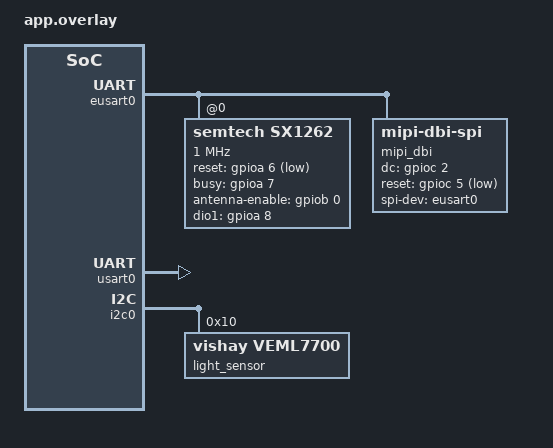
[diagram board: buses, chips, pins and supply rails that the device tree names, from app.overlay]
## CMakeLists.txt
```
# SPDX-License-Identifier: Apache-2.0

cmake_minimum_required(VERSION 3.20.0)

find_package(Zephyr REQUIRED HINTS $ENV{ZEPHYR_BASE})
project(lorawan)

target_include_directories(app PRIVATE ${CMAKE_CURRENT_SOURCE_DIR}/src/utils)

FILE(GLOB app_sources                       
    src/*.c    
    src/display/*.c
    src/sensors/co2_sensor.c
    src/sensors/light_sensor.c
    src/utils/*.c
    src/wireless/BLE/co2_service/*.c            
    src/wireless/BLE/ble_app.c                             
    src/wireless/LoRa/*.c
    src/wireless/*.c)


target_sources(app PRIVATE ${app_sources})
```

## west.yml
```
# The west manifest file for upstream Zephyr.
#
# The per-installation west configuration file, .west/config, sets the
# path to the project containing this file in the [manifest] section's
# "path" variable.
#
# You are free to create your own manifest files and put them in any
# repository you want, to create your own custom Zephyr installations.
# For example, you could create a manifest file in your own out of
# tree application directory, which would pull this zephyr repository
# in as an ordinary project.
#
# You can pass your manifest repositories to west init when creating a
# new Zephyr installation. See the west documentation for more
# information.

manifest:
  defaults:
    remote: upstream
  
  remotes:
    - name: upstream
      url-base: https://github.com/zephyrproject-rtos
    - name: MT_Platform
      url-base: https://github.com/MultiTech-TO/MT_Platform

  #
  # Please add items below based on alphabetical order
  # zephyr-keep-sorted-start re(^\s+\- name:)
  projects:
    - name: zephyr
      revision: v4.4.0
      import:
        name-allowlist: 
         - cmsis
         - cmsis_6
         - hal_silabs
         - loramac-node
         - lvgl
         - mbedtls
         - mcuboot
         - nanopb
         - tinycrypt
         - tf-psa-crypto
        path-allowlist:
         - modules/crypto/*

  self:
    path: applications/MT_Platform
  # zephyr-keep-sorted-stop
```

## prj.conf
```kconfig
CONFIG_ARM_MPU=y
CONFIG_FLASH=y
CONFIG_FLASH_MAP=y
CONFIG_NVS=y
CONFIG_SETTINGS=y
CONFIG_SHELL=y
CONFIG_HW_STACK_PROTECTION=y
CONFIG_LOG=y
# CONFIG_LOG_DEFAULT_LEVEL=2
CONFIG_LORA=y
CONFIG_LORAWAN=y
CONFIG_LORAWAN_LOG_LEVEL_DBG=y
CONFIG_LORA_SHELL=y
CONFIG_SPI_NOR=n
CONFIG_CONSOLE=y
# CONFIG_LORAWAN_REGION_EU868=y
CONFIG_LORAWAN_REGION_US915=y
CONFIG_LORAWAN_SERVICES=y
CONFIG_LORAWAN_APP_CLOCK_SYNC=y

CONFIG_MAIN_STACK_SIZE=4096
CONFIG_SYSTEM_WORKQUEUE_STACK_SIZE=2048

CONFIG_MBEDTLS_PSA_KEY_SLOT_COUNT=3
CONFIG_MBEDTLS_ENABLE_HEAP=y

CONFIG_SMF=y

CONFIG_BT=y
CONFIG_BT_PERIPHERAL=y
CONFIG_SILABS_SISDK_HFXO_MANAGER=y

# CONFIG_THREAD_ANALYZER=y
# CONFIG_THREAD_ANALYZER_AUTO=y

CONFIG_LED=y
CONFIG_DISPLAY=y
CONFIG_MIPI_DBI=y
CONFIG_MIPI_DBI_SPI=y
CONFIG_LV_Z_MEM_POOL_SIZE=16384
CONFIG_LV_Z_SHELL=y
CONFIG_PWM=y

CONFIG_I2C=y
CONFIG_I2C_SHELL=y
CONFIG_VEML7700=y

CONFIG_LVGL=y
CONFIG_LV_COLOR_16_SWAP=y
CONFIG_LV_USE_LOG=y
CONFIG_LV_USE_LABEL=y
CONFIG_LV_USE_ARC=y
CONFIG_LV_USE_MONKEY=y
CONFIG_LV_FONT_MONTSERRAT_24=y

CONFIG_INPUT=y

CONFIG_SENSOR=y
CONFIG_SENSOR_SHELL=y

CONFIG_DEBUG=y
CONFIG_DEBUG_OPTIMIZATIONS=y

CONFIG_ASSERT=y
CONFIG_ASSERT_LEVEL=2



# Added automatically by Workbench for Zephyr
#--- DEBUG PRESET - BEGIN ---#
CONFIG_DEBUG_OPTIMIZATIONS=y
# Generate stack usage per-function
CONFIG_STACK_USAGE=y
# Other options in case not set by default
CONFIG_BUILD_OUTPUT_HEX=y
CONFIG_BUILD_OUTPUT_META=y
CONFIG_OUTPUT_SYMBOLS=y
CONFIG_OUTPUT_STAT=y
CONFIG_OUTPUT_DISASSEMBLY=y
CONFIG_OUTPUT_PRINT_MEMORY_USAGE=y
#--- DEBUG PRESET - END ---#
```

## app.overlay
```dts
/ {
	chosen {
		zephyr,display = &display0;
	};

	aliases {
		lora0 = &lora0;
	};
};

&pinctrl {

	eusart0_default: eusart0_default {
		group0 {
			pins = <EUSART0_TX_PA4>, <EUSART0_SCLK_PA3>;
			drive-push-pull;
			output-high;
		};

		group1 {
			pins = <EUSART0_RX_PA5>;
			input-enable;
			silabs,input-filter;
		};
	};

	eusart0_sleep: eusart0_sleep {
		group0 {
			pins = <EUSART0_TX_PA4>, <EUSART0_RX_PA5>, <EUSART0_SCLK_PA3>;
		};
	};

	i2c0_default: i2c0_default {
		group0 {
			pins = <I2C0_SCL_PB3>, <I2C0_SDA_PB2>;
			drive-open-drain;
			bias-pull-up;
		};
	};
};

&eusart1 {
	/delete-property/ cs-gpios; // EUSART1 was changed from LORA SPI to a USART for the Sloan Above Deck so delete the cs-pins
	/delete-node/ sx1262@0; // Remove the sx1262
	status = "disabled";
};

&eusart0 {
	compatible = "silabs,eusart-spi";
	status = "okay";
	pinctrl-0 = <&eusart0_default>;
	// pinctrl-1 = <&eusart0_sleep>;
	pinctrl-names = "default";
	cs-gpios = <&gpioa 0 GPIO_ACTIVE_LOW>, <&gpioc 3 GPIO_ACTIVE_LOW>;
	#address-cells = <1>;
	#size-cells = <0>;

	lora0: sx1262@0 {
		compatible = "semtech,sx1262";
		status = "okay";
		reg = <0>; // reg 0 refers to the first element of cs-gpio
		label = "sx1262";
		reset-gpios = <&gpioa 6 GPIO_ACTIVE_LOW>;
		busy-gpios = <&gpioa 7 GPIO_ACTIVE_HIGH>;
		antenna-enable-gpios = <&gpiob 0 (GPIO_PULL_UP | GPIO_ACTIVE_HIGH)>;
		dio1-gpios = <&gpioa 8 (GPIO_PULL_DOWN | GPIO_ACTIVE_HIGH)>;
		dio2-tx-enable;
		spi-max-frequency = <1000000>;
		rx-boosted;
	};

	mipi_dbi {
		compatible = "zephyr,mipi-dbi-spi";
		spi-dev = <&eusart0>;

		dc-gpios = <&gpioc 2 GPIO_ACTIVE_HIGH>;
		reset-gpios = <&gpioc 5 GPIO_ACTIVE_LOW>;

		write-only;

		#address-cells = <1>;
		#size-cells = <0>;
		pinctrl-0 = <&eusart1_default>;
		pinctrl-names = "default";

		display0: st7796s@1 {
			compatible = "sitronix,st7796s";
			status = "okay";
			reg = <1>; // reg 0 refers to the first element of cs-gpio
			label = "lcd";
			mipi-max-frequency = <1000000>;
			mipi-mode = "MIPI_DBI_MODE_SPI_4WIRE";
			height = <240>;
			width = <240>;
			invert-mode = "1-dot";
			frmctl1 = [80 10];
			bpc = [1f 50 00 20];
			dfc = [8a 07 3b];
			pwr1 = [80 64];
			pwr2 = <0x13>;
			pwr3 = <0xa7>;
			vcmpctl = <0x09>;
			doca = [40 8a 00 00 29 19 a5 33];
			pgc = [f0 06 0b 07 06 05 2e 33 47 3a 17 16 2e 31];
			ngc = [f0 09 0d 09 08 23 2e 33 46 38 13 13 2c 32];
			madctl = <0x28>;
			rgb-is-inverted;
			// color-invert;
			color-coding = "MIPI_DBI_MODE_RGB565";
			/* LCD_TE tearing signal is not available in SPI PMOD connector */
			te-mode = "MIPI_DBI_TE_NO_EDGE";
		};
	};
};

&lfrco {
	precision-mode;
};

&lfxo {
	ctune = <0x28>;
};

&usart0 {
	status = "okay";
};

&i2c0 {
	status = "okay";
	pinctrl-0 = <&i2c0_default>;
	pinctrl-names = "default";

	light_sensor: veml7700@10 {
		compatible = "vishay,veml7700";
		status = "okay";
		reg = <0x10>;
		psm-mode = <0x0>;
	};
	// co2_sensor: scd41@62 {
	// compatible = "sensirion,scd41";
	// 	status = "okay";
	// reg = <0x62>;
	// mode = <0>;
	//     };
};

/* DEVICETREE-MANAGER-BEGIN: generated region, do not edit inside this block */
#include <dt-bindings/pinctrl/silabs/xg24-pinctrl.h>

&timer0_default {
    group0 {
        pins = < TIMER0_CC1_PB4 >;
    };
};
/* DEVICETREE-MANAGER-END */
```

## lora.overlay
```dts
#include <zephyr/dt-bindings/lora/sx126x.h>

/ {
    aliases{
		lora0 = &lora0;
    };
};

&pinctrl{
    eusart1_default: eusart1_default {
		group0 {
			pins = <EUSART1_TX_PC1>, <EUSART1_SCLK_PC3>;
			drive-push-pull;
			output-high;
		};

		group1 {
			pins = <EUSART1_RX_PC2>;
			input-enable;
			silabs,input-filter;
		};
	};

	eusart1_sleep: eusart1_sleep{
		group0{
			pins = <EUSART1_TX_PC1>, <EUSART1_RX_PC2>, <EUSART1_SCLK_PC3>;
		};
	};

    usart0_default: usart0_default {
		group0 {
			pins = <USART0_TX_PA0>;
			drive-push-pull;
			output-high;
		};

		group1 {
			pins = <USART0_RX_PC4>;
			input-enable;
			silabs,input-filter;
		};
    };

	usart0_sleep: usart0_sleep{
		group0{
			pins = <USART0_TX_PA0>, <USART0_RX_PC4>;
		};
	};

};

&eusart1{
    status = "okay";
	pinctrl-0 = <&eusart1_default>;
	pinctrl-1 = <&eusart1_sleep>;
	pinctrl-names = "default", "sleep";
    cs-gpios = <&gpioc 0 GPIO_ACTIVE_LOW>; // Here we set the cs pins to only the SX1262 CS pin
    lora0: sx1262@0{ 
		compatible = "semtech,sx1262";
		status = "okay";
		reg = <0>; // reg 0 refers to the first element of cs-gpio
		label = "sx1262";
		reset-gpios = <&gpioa 9 GPIO_ACTIVE_LOW>;
		busy-gpios = <&gpioa 7 GPIO_ACTIVE_HIGH>;
		// rx-enable-gpios = <&gpioa 6 GPIO_ACTIVE_LOW>;
		dio1-gpios = <&gpioa 8 (GPIO_PULL_DOWN | GPIO_ACTIVE_HIGH)>; 
		// dio1-gpios = <&gpio1 15 GPIO_ACTIVE_LOW>; 
		dio2-tx-enable;
		spi-max-frequency = <1000000>;
    };
	spi-flash0{
		status = "disabled";
	};
	zephyr,display{
		status = "disabled";
	};

};

&i2c0 {
	status = "okay";
	bme280@76 {
		compatible = "bosch,bme280";
		status = "okay";
		reg = <0x76>;
	};
    scd41@62 {
        compatible = "sensirion,scd41";
		status = "okay";
        reg = <0x62>;
        mode = <0>;
    };
	// stcc4@64{
	// 	compatible = "sensirion,stcc4";
	// 	status = "okay";
	// 	reg = <0x64>;
	// 	measurement-mode = <1>;
	// };
	si7021@40{
		status = "disabled";
	};
};

&usart0 {
	current-speed = <115200>;
	pinctrl-0 = <&usart0_default>;
	pinctrl-1 = <&usart0_sleep>;
	pinctrl-names = "default", "sleep";
	status = "okay";
};
```

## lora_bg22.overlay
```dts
#include <zephyr/dt-bindings/lora/sx126x.h>

/ {
    aliases{
		lora0 = &lora0;
    };
};

&pinctrl{
    usart0_default: usart0_default {
		group0 {
			pins = <USART0_TX_PC1>, <USART0_CLK_PC3>;
			drive-push-pull;
			output-high;
		};

		group1 {
			pins = <USART0_RX_PC2>;
			input-enable;
			silabs,input-filter;
		};
	};

    usart1_default: usart1_default {
		group0 {
			pins = <USART1_TX_PA7>;
			drive-push-pull;
			output-high;
		};

		group1 {
			pins = <USART1_RX_PA8>;
			input-enable;
			silabs,input-filter;
		};
    };
};

&usart0{
    status = "okay";
    cs-gpios = <&gpioc 0 GPIO_ACTIVE_LOW>;
	pinctrl-0 = <&usart0_default>;
    lora0: sx1262@2{
		compatible = "semtech,sx1262";
		reg = <2>;
		label = "sx1262";
		reset-gpios = <&gpioa 6 GPIO_ACTIVE_LOW>;
		busy-gpios = <&gpiod 3 GPIO_ACTIVE_HIGH>;
		tx-enable-gpios = <&gpiod 2 GPIO_ACTIVE_LOW>;
		dio1-gpios = <&gpioa 5 (GPIO_PULL_DOWN | GPIO_ACTIVE_HIGH)>; // dio1-gpios = <&gpio1 15 GPIO_ACTIVE_LOW>; 
		dio2-tx-enable;
		spi-max-frequency = <1000000>;
    };
};

&usart1 {
	current-speed = <115200>;
	pinctrl-0 = <&usart1_default>;
	pinctrl-names = "default";
	status = "okay";
};
```

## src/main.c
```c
/*
 * Class A LoRaWAN sample application
 *
 * Copyright (c) 2020 Manivannan Sadhasivam <mani@kernel.org>
 *
 * SPDX-License-Identifier: Apache-2.0
 */

#include <zephyr/device.h>
#include <zephyr/kernel.h>
#include <zephyr/drivers/display.h>
#include <zephyr/drivers/pwm.h>
#include <zephyr/input/input.h>
#include "wireless/LoRa/lora_app.h"
#include <zephyr/drivers/uart.h>
#include <zephyr/drivers/led.h>
#include <zephyr/drivers/sensor.h>
#include <zephyr/shell/shell.h>

#include "display/display.h"

#include "sensors/light_sensor.h"

#define DELAY K_MSEC(1)
#define LOG_LEVEL LOG_LEVEL_INFO
#include <zephyr/logging/log.h>
LOG_MODULE_REGISTER(main);


/* size of stack area used by each thread */
#define STACKSIZE 3072

/* scheduling priority used by each thread */
#define PRIORITY 2

K_EVENT_DEFINE(sensor_event);

bool btn_pressed = false;

static void button_input_cb(struct input_event *evt, void *user_data)
{
	if (evt->sync == 0) {
		return;
	}
	if(evt->value && !btn_pressed){
		btn_pressed = true;
	}
}

INPUT_CALLBACK_DEFINE(NULL, button_input_cb, NULL);

void lora_thread_loop(void *p1, void *p2, void *p3)
{
	ARG_UNUSED(p1);
	ARG_UNUSED(p2);
	ARG_UNUSED(p3);
	lora_app_init();

	while (true) {
		k_sleep(DELAY);
		lora_app_run();
	}
}

K_THREAD_DEFINE(lora_thread, STACKSIZE, lora_thread_loop, NULL, NULL, NULL, PRIORITY, 0, 6500);

int main(void)
{
	light_sensor_init();
	display_init();
	struct sensor_value lux, white;

	light_sensor_get_data(&lux, &white);
	display_update(&lux);

	k_sleep(K_SECONDS(5));
	lora_app_start_join();
	int64_t uptime = k_uptime_seconds();

	while (1) {
		// Update every 60 seconds or if the button is pressed. Limit updates
		// from button presses to every 5 seconds
		if(k_uptime_seconds() - uptime > 120 || (btn_pressed && k_uptime_seconds() - uptime > 5)){

			light_sensor_get_data(&lux, &white);
			display_update(&lux);

			uptime = k_uptime_seconds();
			// btn_pressed = false;

			if(lora_app_is_joined()){
				lora_app_add_uplink(&lux, &white);
			}
		}
		display_run();
		k_sleep(K_MSEC(10));
	}
}
```

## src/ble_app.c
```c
/***************************************************************************//**
 * @file app.c
 * @brief zephyr application source file.
 *******************************************************************************
 * # License
 * <b>Copyright 2025 Silicon Laboratories Inc. www.silabs.com</b>
 *******************************************************************************
 *
 * SPDX-License-Identifier: Zlib
 *
 * The licensor of this software is Silicon Laboratories Inc.
 *
 * This software is provided \'as-is\', without any express or implied
 * warranty. In no event will the authors be held liable for any damages
 * arising from the use of this software.
 *
 * Permission is granted to anyone to use this software for any purpose,
 * including commercial applications, and to alter it and redistribute it
 * freely, subject to the following restrictions:
 *
 * 1. The origin of this software must not be misrepresented; you must not
 *    claim that you wrote the original software. If you use this software
 *    in a product, an acknowledgment in the product documentation would be
 *    appreciated but is not required.
 * 2. Altered source versions must be plainly marked as such, and must not be
 *    misrepresented as being the original software.
 * 3. This notice may not be removed or altered from any source distribution.
 *
 *******************************************************************************
 * # EXPERIMENTAL QUALITY
 * This code has not been formally tested and is provided as-is. It is not
 * suitable for production environments. In addition, this code will not be
 * maintained and there may be no bug maintenance planned for these resources.
 * Silicon Labs may update projects from time to time.
 ******************************************************************************/
#include <stdio.h>
#include <zephyr/kernel.h>
#include <zephyr/logging/log.h>
#include <zephyr/drivers/gpio.h>
#include <zephyr/drivers/sensor.h>
#include <zephyr/bluetooth/bluetooth.h>
#include <zephyr/bluetooth/gatt.h>
#include "ble_app.h"
#include "health_thermo_service.h"
#include "health_thermo_service_config.h"

LOG_MODULE_REGISTER(app, 3);

/***************************************************************************//**
 * Definition.
 ******************************************************************************/
#define BUTTON0         DT_ALIAS(sw0)
#define DEVICE_NAME     "Thermometer Example"
#define DEVICE_NAME_LEN (sizeof(DEVICE_NAME) - 1)

/***************************************************************************//**
 * Static variable declaration.
 ******************************************************************************/
static bool app_btn0_press = false;
static struct gpio_callback btn0_callback;
static double current_temperature = 0;
static struct k_timer app_indicate_timer;
static const struct gpio_dt_spec btn0 = GPIO_DT_SPEC_GET(BUTTON0, gpios);
// /* BLE connection */
struct bt_conn *ble_conn = NULL;
static const struct bt_data ad[] = {
  BT_DATA_BYTES(BT_DATA_FLAGS, (BT_LE_AD_GENERAL | BT_LE_AD_NO_BREDR)),
  BT_DATA_BYTES(BT_DATA_UUID16_ALL, 0x09, 0x18),
  BT_DATA(BT_DATA_NAME_COMPLETE, DEVICE_NAME, DEVICE_NAME_LEN),
};

/***************************************************************************//**
 * Static application function declaration.
 ******************************************************************************/
static int button0_init();
static void bt_ready(int err);
static void connected(struct bt_conn *connected, uint8_t err);
static void disconnected(struct bt_conn *disconn, uint8_t reason);
static void btn0_callback_handler(const struct device *port,
                                  struct gpio_callback *cb,
                                  gpio_port_pins_t pins);
static void app_indicate_timer_handler(struct k_timer *timer_id);

BT_CONN_CB_DEFINE(conn_callbacks) = {
  .connected = connected,
  .disconnected = disconnected,
};

/***************************************************************************//**
 * Static Application function definition.
 ******************************************************************************/
static int button0_init()
{
  int ret = 0;

  if (!gpio_is_ready_dt(&btn0)) {
    LOG_ERR("Button 0 is not ready. ");
    return ret;
  }

  ret = gpio_pin_configure_dt(&btn0, GPIO_INPUT);
  if (ret != 0) {
    LOG_ERR("Error %d: can't configure button on GPIO %s pin %d",
            ret, btn0.port->name, btn0.pin);
    return ret;
  }

  gpio_init_callback(&btn0_callback, btn0_callback_handler, BIT(btn0.pin));
  gpio_add_callback(btn0.port, &btn0_callback);
  ret = gpio_pin_interrupt_configure_dt(&btn0, GPIO_INT_EDGE_BOTH);
  if (ret != 0) {
    LOG_ERR("Error %d: can't configure button to interrupt on %s pin %d",
            ret, btn0.port->name, btn0.pin);
    return ret;
  }
  return 0;
}

static void btn0_callback_handler(const struct device *port,
                                  struct gpio_callback *cb,
                                  gpio_port_pins_t pins)
{
  app_btn0_press = (bool)gpio_pin_get_dt(&btn0) ? true : false;
  printk("button state: %d", app_btn0_press);
}

static void app_indicate_timer_handler(struct k_timer *timer_id)
{
  health_thermometer_indicate_temp(ble_conn, current_temperature, false);
}

void temperature_measurement_ccc_changed(const struct bt_gatt_attr *attr,
                                         uint16_t value)
{
  printk("Temperature measurement indication changed\n");
  if (value == BT_GATT_CCC_INDICATE) {
    // Start timer used for periodic indications.
    k_timer_start(&app_indicate_timer,
                  K_MSEC(1000),
                  K_MSEC(SL_BT_HT_MEASUREMENT_INTERVAL_SEC));
  } else {
    k_timer_stop(&app_indicate_timer);
  }
}

void temperature_measurement_indicate_cb(struct bt_conn *conn,
                                         struct bt_gatt_indicate_params *params,
                                         uint8_t err)
{
  LOG_INF("Indication %s, Temperature value: %g C\n",
          err != 0U ? "fail" : "success",
          current_temperature);
}

/***************************************************************************//**
 * BLE Connection - Related funtions.
 ******************************************************************************/
static void bt_ready(int err)
{
  if (err) {
    LOG_ERR("bluetooth Initialization failed: %d.\n", err);
    return;
  }

  LOG_INF("Bluetooth initialized");

  /* Start advertising */
  err = bt_le_adv_start(BT_LE_ADV_CONN_FAST_2, ad, ARRAY_SIZE(ad), NULL, 0);
  if (err) {
    LOG_ERR("Advertising failed to start (err %d)", err);
    return;
  }

  LOG_INF("Configuration mode: waiting connections...");
}

static void connected(struct bt_conn *connected, uint8_t err)
{
  if (err) {
    LOG_ERR("Connection failed (err %u)", err);
  } else {
    LOG_INF("Connected");
    if (!ble_conn) {
      ble_conn = bt_conn_ref(connected);
    }
  }
}

static void disconnected(struct bt_conn *disconn, uint8_t reason)
{
  if (ble_conn) {
    bt_conn_unref(ble_conn);
    ble_conn = NULL;
  }

  LOG_INF("Disconnected (reason %u)", reason);
}

/***************************************************************************//**
 * Application initialization function.
 ******************************************************************************/
void ble_app_init(void)
{
  int ret = 0;

  LOG_INF("Zephyr Application - Bluetooth SoC Thermometer.\n");

  ret = button0_init();
  if (ret) {
    LOG_ERR("Button0 Initialization failed: %d.\n", ret);
    return;
  }

  /* Initialize the Bluetooth Subsystem */
  ret = bt_enable(bt_ready);
  if (ret) {
    LOG_ERR("bluetooth Initialization failed: %d.\n", ret);
    return;
  }

  // Initialize the periodic indicate timer
  k_timer_init(&app_indicate_timer, app_indicate_timer_handler, NULL);

  // Initialized the health thermometer service
  health_thermometer_init();

  LOG_INF("Application initialization is done.\n");
  LOG_INF("Waiting for connection...\n");
}

/***************************************************************************//**
 * App ticking function.
 ******************************************************************************/
void ble_app_process_action(void)
{
  current_temperature = 24;

  k_sleep(K_MSEC(500));
}
```

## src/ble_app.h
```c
/***************************************************************************//**
 * @file app.h
 * @brief zephyr si7210 hall effect magnetic sensor header file.
 *******************************************************************************
 * # License
 * <b>Copyright 2025 Silicon Laboratories Inc. www.silabs.com</b>
 *******************************************************************************
 *
 * SPDX-License-Identifier: Zlib
 *
 * The licensor of this software is Silicon Laboratories Inc.
 *
 * This software is provided \'as-is\', without any express or implied
 * warranty. In no event will the authors be held liable for any damages
 * arising from the use of this software.
 *
 * Permission is granted to anyone to use this software for any purpose,
 * including commercial applications, and to alter it and redistribute it
 * freely, subject to the following restrictions:
 *
 * 1. The origin of this software must not be misrepresented; you must not
 *    claim that you wrote the original software. If you use this software
 *    in a product, an acknowledgment in the product documentation would be
 *    appreciated but is not required.
 * 2. Altered source versions must be plainly marked as such, and must not be
 *    misrepresented as being the original software.
 * 3. This notice may not be removed or altered from any source distribution.
 *
 *******************************************************************************
 * # EXPERIMENTAL QUALITY
 * This code has not been formally tested and is provided as-is. It is not
 * suitable for production environments. In addition, this code will not be
 * maintained and there may be no bug maintenance planned for these resources.
 * Silicon Labs may update projects from time to time.
 ******************************************************************************/

#ifndef APP_H_
#define APP_H_

/***************************************************************************//**
 * Initialize application.
 ******************************************************************************/
void ble_app_init(void);

/***************************************************************************//**
 * App ticking function.
 ******************************************************************************/
void ble_app_process_action(void);

#endif /*APP_H_*/
```

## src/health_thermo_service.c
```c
/***************************************************************************//**
 * @file thermometer.c
 * @brief thermometer source file.
 *******************************************************************************
 * # License
 * <b>Copyright 2025 Silicon Laboratories Inc. www.silabs.com</b>
 *******************************************************************************
 *
 * SPDX-License-Identifier: Zlib
 *
 * The licensor of this software is Silicon Laboratories Inc.
 *
 * This software is provided \'as-is\', without any express or implied
 * warranty. In no event will the authors be held liable for any damages
 * arising from the use of this software.
 *
 * Permission is granted to anyone to use this software for any purpose,
 * including commercial applications, and to alter it and redistribute it
 * freely, subject to the following restrictions:
 *
 * 1. The origin of this software must not be misrepresented; you must not
 *    claim that you wrote the original software. If you use this software
 *    in a product, an acknowledgment in the product documentation would be
 *    appreciated but is not required.
 * 2. Altered source versions must be plainly marked as such, and must not be
 *    misrepresented as being the original software.
 * 3. This notice may not be removed or altered from any source distribution.
 *
 *******************************************************************************
 * # EXPERIMENTAL QUALITY
 * This code has not been formally tested and is provided as-is. It is not
 * suitable for production environments. In addition, this code will not be
 * maintained and there may be no bug maintenance planned for these resources.
 * Silicon Labs may update projects from time to time.
 ******************************************************************************/
#include <stdio.h>
#include <zephyr/sys/byteorder.h>
#include <zephyr/bluetooth/gatt.h>
#include "health_thermo_service.h"
#include "health_thermo_service_config.h"

/**************************************************************************//**
 * static variable declaration
 *****************************************************************************/
static int measurement_interval = 1;
static int temperature_type = SL_BT_HT_TEMPERATURE_TYPE_BODY;
static struct bt_gatt_indicate_params indicate_params;

/**************************************************************************//**
 * static function definition.
 *****************************************************************************/
// parse temperature into buffer to send
static void temperature_measurement_val_to_buf(double value,
                                               bool fahrenheit,
                                               uint8_t *buffer);

// characteristic properties callback
static ssize_t measure_interval_read_cb(struct bt_conn *conn,
                                        const struct bt_gatt_attr *attr,
                                        void *buf, uint16_t len,
                                        uint16_t offset);
static ssize_t temperture_type_read_cb(struct bt_conn *conn,
                                       const struct bt_gatt_attr *attr,
                                       void *buf, uint16_t len,
                                       uint16_t offset);

/**************************************************************************//**
 * Health Thermometer Service Declaration
 *****************************************************************************/
BT_GATT_SERVICE_DEFINE(hts_svc,
                       BT_GATT_PRIMARY_SERVICE(BT_UUID_HTS),
                       BT_GATT_CHARACTERISTIC(BT_UUID_HTS_MEASUREMENT,
                                              BT_GATT_CHRC_INDICATE,
                                              BT_GATT_PERM_NONE,
                                              NULL,
                                              NULL,
                                              NULL),
                       BT_GATT_CCC(temperature_measurement_ccc_changed,
                                   BT_GATT_PERM_READ | BT_GATT_PERM_WRITE),
                       BT_GATT_CHARACTERISTIC(BT_UUID_HTS_TEMP_TYP,
                                              BT_GATT_CHRC_READ,
                                              BT_GATT_PERM_READ,
                                              temperture_type_read_cb,
                                              NULL,
                                              &temperature_type),
                       BT_GATT_CHARACTERISTIC(BT_UUID_HTS_TEMP_INT,
                                              BT_GATT_CHRC_NOTIFY,
                                              BT_GATT_PERM_NONE,
                                              NULL,
                                              NULL,
                                              NULL),
                       BT_GATT_CCC(intermediate_temperature_ccc_changed,
                                   BT_GATT_PERM_READ | BT_GATT_PERM_WRITE),
                       BT_GATT_CHARACTERISTIC(BT_UUID_HTS_INTERVAL,
                                              BT_GATT_CHRC_READ,
                                              BT_GATT_PERM_READ,
                                              measure_interval_read_cb,
                                              NULL,
                                              &measurement_interval),
                       BT_GATT_CCC(measurement_interval_ccc_changed,
                                   BT_GATT_PERM_READ | BT_GATT_PERM_WRITE)
                       );

/**************************************************************************//**
 * Health thermometer indicate temperature function.
 *****************************************************************************/
void health_thermometer_indicate_temp(struct bt_conn *connection,
                                      double temperature,
                                      bool fahrenheit)
{
  static uint8_t htm[5];

  if (connection != NULL) {
    temperature_measurement_val_to_buf(temperature, fahrenheit, htm);
    indicate_params.attr = &hts_svc.attrs[2];
    indicate_params.destroy = temperature_measurement_indicate_destroy;
    indicate_params.func = temperature_measurement_indicate_cb;
    indicate_params.data = &htm;
    indicate_params.len = sizeof(htm);
    bt_gatt_indicate(connection, &indicate_params);
  }
}

void health_thermometer_init()
{
  temperature_type = SL_BT_HT_TEMPERATURE_TYPE_BODY;
  measurement_interval = SL_BT_HT_MEASUREMENT_INTERVAL_SEC / 1000;
}

/**************************************************************************//**
 * Private function definitions
 *****************************************************************************/
static void temperature_measurement_val_to_buf(double value,
                                               bool fahrenheit,
                                               uint8_t *buffer)
{
  static uint32_t mantissa;
  static uint8_t exponent;

  mantissa = (uint32_t)(value * 100);
  exponent = (uint8_t)-2;

  buffer[0] = fahrenheit ? 1 : 0; /* temperature in celsius */
  sys_put_le24(mantissa, (uint8_t *)&buffer[1]);
  buffer[4] = exponent;
}

/**************************************************************************//**
 *  Measurement interval characteristic read callback.
 ******************************************************************************/
static ssize_t measure_interval_read_cb(struct bt_conn *conn,
                                        const struct bt_gatt_attr *attr,
                                        void *buf, uint16_t len,
                                        uint16_t offset)
{
  return bt_gatt_attr_read(conn, attr, buf, len, offset, attr->user_data,
                           sizeof(measurement_interval));
}

/**************************************************************************//**
 *  Measurement interval characteristic read callback.
 ******************************************************************************/
static ssize_t temperture_type_read_cb(struct bt_conn *conn,
                                       const struct bt_gatt_attr *attr,
                                       void *buf, uint16_t len,
                                       uint16_t offset)
{
  return bt_gatt_attr_read(conn, attr, buf, len, offset, attr->user_data,
                           sizeof(temperature_type));
}

__weak void temperature_measurement_ccc_changed(const struct bt_gatt_attr *attr,
                                                uint16_t value)
{
  (void) attr;
  (void) value;
}

__weak void intermediate_temperature_ccc_changed(
  const struct bt_gatt_attr *attr,
  uint16_t value)
{
  (void) attr;
  (void) value;
}

__weak void measurement_interval_ccc_changed(const struct bt_gatt_attr *attr,
                                             uint16_t value)
{
  (void) attr;
  (void) value;
}

__weak void temperature_measurement_indicate_cb(struct bt_conn *conn,
                                                struct bt_gatt_indicate_params *params,
                                                uint8_t err)
{
  (void) conn;
  (void) params;
  (void) err;
}

__weak void temperature_measurement_indicate_destroy(
  struct bt_gatt_indicate_params *params)
{
  (void) params;
}
```

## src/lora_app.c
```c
#include "lora_app.h"

#include <zephyr/device.h>
#include <zephyr/lorawan/lorawan.h>
#include <zephyr/kernel.h>

/* Customize based on network configuration */
#define LORAWAN_DEV_EUI			{ 0xDD, 0xEE, 0xAA, 0xDD, 0xBB, 0xEE,\
					  0xEE, 0xFF }
#define LORAWAN_JOIN_EUI		{ 0x00, 0x00, 0x00, 0x00, 0x00, 0x00,\
					  0x00, 0x00 }
#define LORAWAN_APP_KEY			{ 0x2B, 0x7E, 0x15, 0x16, 0x28, 0xAE,\
					  0xD2, 0xA6, 0xAB, 0xF7, 0x15, 0x88,\
					  0x09, 0xCF, 0x4F, 0x3C }

#define DELAY K_MSEC(10000)

#define LOG_LEVEL CONFIG_LOG_DEFAULT_LEVEL
#include <zephyr/logging/log.h>
LOG_MODULE_REGISTER(lorawan_class_a);

char data[] = {'h', 'e', 'l', 'l', 'o', 'w', 'o', 'r', 'l', 'd'};

uint8_t dev_eui[] = LORAWAN_DEV_EUI;
uint8_t join_eui[] = LORAWAN_JOIN_EUI;
uint8_t app_key[] = LORAWAN_APP_KEY;

static void dl_callback(uint8_t port, uint8_t flags, int16_t rssi, int8_t snr, uint8_t len,
			const uint8_t *hex_data)
{
	LOG_INF("Port %d, Pending %d, RSSI %ddB, SNR %ddBm, Time %d", port,
		flags & LORAWAN_DATA_PENDING, rssi, snr, !!(flags & LORAWAN_TIME_UPDATED));
	if (hex_data) {
		LOG_HEXDUMP_INF(hex_data, len, "Payload: ");
	}
}

static void lorwan_datarate_changed(enum lorawan_datarate dr)
{
	uint8_t unused, max_size;

	lorawan_get_payload_sizes(&unused, &max_size);
	LOG_INF("New Datarate: DR_%d, Max Payload %d", dr, max_size);
}

int lora_app_init(void){
	const struct device *lora_dev;

    	int ret;

	struct lorawan_downlink_cb downlink_cb = {
		.port = LW_RECV_PORT_ANY,
		.cb = dl_callback
	};

	lora_dev = DEVICE_DT_GET(DT_ALIAS(lora0));
	if (!device_is_ready(lora_dev)) {
		LOG_ERR("%s: device not ready.", lora_dev->name);
		return 0;
	}

#if defined(CONFIG_LORAWAN_REGION_EU868)
	/* If more than one region Kconfig is selected, app should set region
	 * before calling lorawan_start()
	 */
	ret = lorawan_set_region(LORAWAN_REGION_EU868);
	if (ret < 0) {
		LOG_ERR("lorawan_set_region failed: %d", ret);
		return 0;
	}
#endif

	ret = lorawan_start();
	if (ret < 0) {
		LOG_ERR("lorawan_start failed: %d", ret);
		return 0;
	}

	lorawan_register_downlink_callback(&downlink_cb);
	lorawan_register_dr_changed_callback(lorwan_datarate_changed);
}

int lora_app_run(void){

}

int lora_app_join(void){
    struct lorawan_join_config join_cfg;
	join_cfg.mode = LORAWAN_ACT_OTAA;
	join_cfg.dev_eui = dev_eui;
	join_cfg.otaa.join_eui = join_eui;
	join_cfg.otaa.app_key = app_key;
	join_cfg.otaa.nwk_key = app_key;
	join_cfg.otaa.dev_nonce = 0u;

	LOG_INF("Joining network over OTAA");
	ret = lorawan_join(&join_cfg);
	if (ret < 0) {
		LOG_ERR("lorawan_join_network failed: %d", ret);
		return 0;
	}
}

bool lora_app_is_joined(void);
```

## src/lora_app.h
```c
#ifndef _LORA_APP_
#define _LORA_APP_

int lora_app_init(void);
int lora_app_run(void);
int lora_app_join(void);
bool lora_app_is_joined(void);

#endif
```
